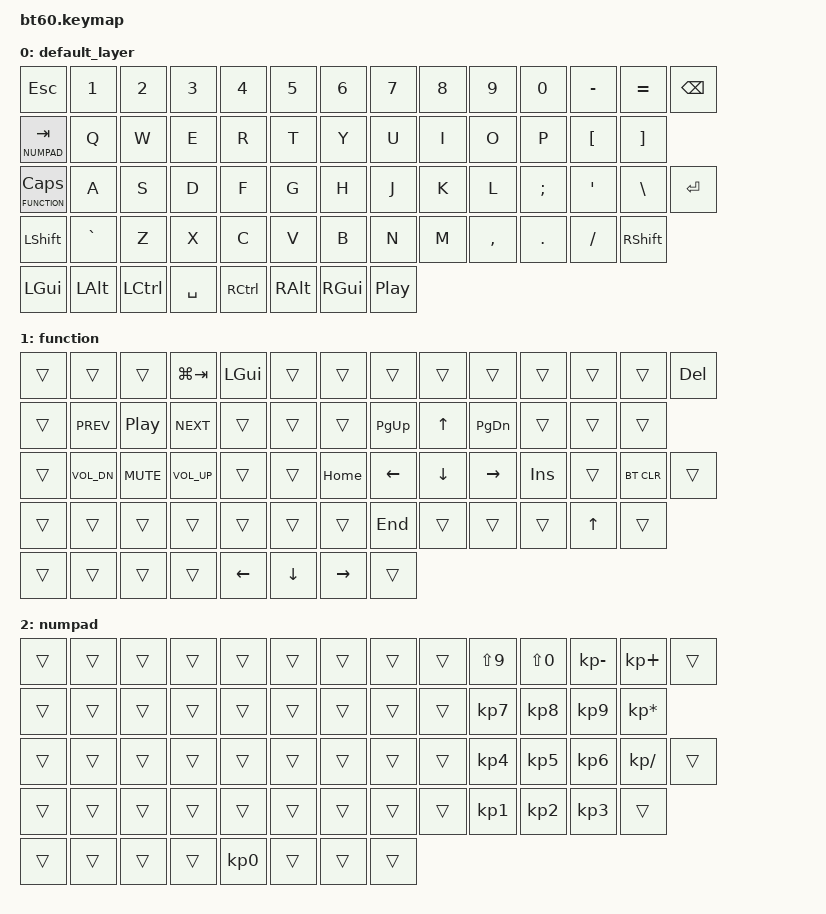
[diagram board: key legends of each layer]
#include <behaviors.dtsi>
#include <dt-bindings/zmk/bt.h>
#include <dt-bindings/zmk/keys.h>
#include <dt-bindings/zmk/outputs.h>

#define FUNCTION 1
#define NUMPAD   2

/ {
    keymap {
        compatible = "zmk,keymap";
        default_layer {
            bindings = <
                &kp ESC &kp N1 &kp N2 &kp N3 &kp N4 &kp N5 &kp N6 &kp N7 &kp N8 &kp N9 &kp N0 &kp MINUS &kp EQUAL &kp BSPC
                &lt NUMPAD TAB &kp Q &kp W &kp E &kp R &kp T &kp Y &kp U &kp I &kp O &kp P &kp LBKT &kp RBKT
                &lt FUNCTION CAPS &kp A &kp S &kp D &kp F &kp G &kp H &kp J &kp K &kp L &kp SEMI &kp SQT &kp BSLH &kp RET
                &kp LSHFT &kp GRAVE &kp Z &kp X &kp C &kp V &kp B &kp N &kp M &kp COMMA &kp DOT &kp FSLH &kp RSHFT
                &kp LGUI &kp LALT &kp LCTRL &kp SPACE &kp RCTRL &kp RALT &kp RGUI &kp C_PP
            >;
        };
        function {
            bindings = <
                &trans &trans &trans &kp LG(TAB) &kp LGUI &trans &trans &trans &trans &trans &trans &trans &trans &kp DEL
                &trans &kp C_PREV &kp C_PP &kp C_NEXT &trans &trans &trans &kp PG_UP &kp UP &kp PG_DN &trans &trans &trans
                &trans &kp C_VOL_DN &kp C_MUTE &kp C_VOL_UP &trans &trans &kp HOME &kp LEFT &kp DOWN &kp RIGHT &kp INS &trans &bt BT_CLR &trans
                &trans &trans &trans &trans &trans &trans &trans &kp END &trans &trans &trans &kp UP &trans
                &trans &trans &trans &trans &kp LEFT &kp DOWN &kp RIGHT &trans
            >;
        };
        numpad {
            bindings = <
                &trans &trans &trans &trans &trans &trans &trans &trans &trans &kp LS(N9) &kp LS(N0) &kp KP_MINUS &kp KP_PLUS &trans
                &trans &trans &trans &trans &trans &trans &trans &trans &trans &kp KP_N7 &kp KP_N8 &kp KP_N9 &kp KP_MULTIPLY
                &trans &trans &trans &trans &trans &trans &trans &trans &trans &kp KP_N4 &kp KP_N5 &kp KP_N6 &kp KP_DIVIDE &trans
                &trans &trans &trans &trans &trans &trans &trans &trans &trans &kp KP_N1 &kp KP_N2 &kp KP_N3 &trans
                &trans &trans &trans &trans &kp KP_N0 &trans &trans &trans
            >;
        };
    };
};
